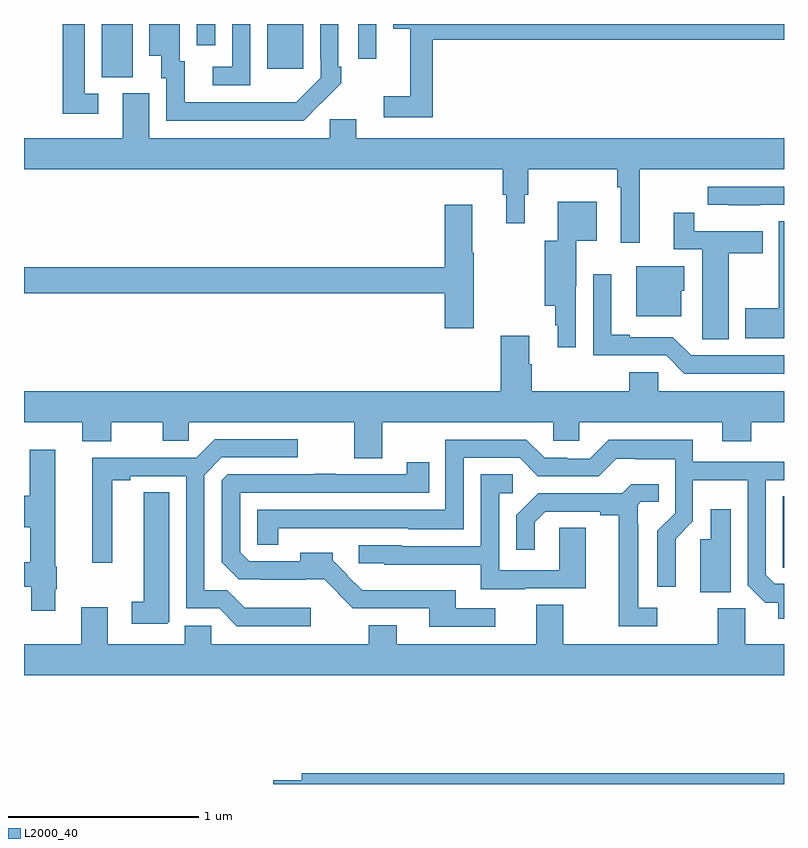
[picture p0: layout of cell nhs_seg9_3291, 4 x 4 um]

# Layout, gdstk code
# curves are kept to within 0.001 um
import gdstk
lib = gdstk.Library(unit=1e-6, precision=1e-09)
def R(c, l, rs):  # rectangles x0, y0, x1, y1
    for r in rs: c.add(gdstk.rectangle(r[:2], r[2:], *l))
def P(c, l, *ps):  # polygons
    for p in ps: c.add(gdstk.Polygon(p, *l))
L2000_40 = (2000, 40)

nhs_seg9_3291 = lib.new_cell('nhs_seg9_3291')
R(nhs_seg9_3291, L2000_40, [(299.408,1214.221,299.572,1214.5), (300.281,1214.265,300.469,1214.5), (300.759,1214.316,300.855,1214.5), (299.91,1214.388,300.006,1214.5)])
P(nhs_seg9_3291, L2000_40, [(299.392,1214.133),(299.319,1214.133),(299.319,1214.5),(299.203,1214.5),(299.203,1214.028),(299.392,1214.028)],
  [(300.563,1214.083),(300.564,1214.082),(300.669,1214.187),(300.669,1214.275),(300.654,1214.275),(300.654,1214.5),(300.558,1214.5),(300.558,1214.317),(300.561,1214.317),(300.561,1214.217),(300.433,1214.089),(300.329,1214.088),(299.845,1214.088),(299.845,1214.304),(299.821,1214.304),(299.821,1214.5),(299.66,1214.5),(299.66,1214.333),(299.723,1214.333),(299.723,1214.214),(299.748,1214.214),(299.748,1213.992),(300.472,1213.992)],
  [(301.151,1214.416),(303,1214.416),(303,1214.5),(300.944,1214.5),(300.944,1214.474),(301.034,1214.474),(301.034,1214.119),(300.894,1214.119),(300.894,1214.01),(301.151,1214.01)],
  [(300.192,1214.5),(300.096,1214.5),(300.096,1214.274),(299.994,1214.274),(299.994,1214.178),(300.192,1214.178)],
  [(302.24,1213.736),(303,1213.736),(303,1213.9),(300.748,1213.9),(300.748,1213.998),(300.609,1213.998),(300.609,1213.9),(299.659,1213.9),(299.659,1214.136),(299.519,1214.136),(299.519,1213.9),(299,1213.9),(299,1213.736),(301.519,1213.736),(301.519,1213.602),(301.538,1213.602),(301.538,1213.452),(301.636,1213.452),(301.636,1213.602),(301.655,1213.602),(301.655,1213.736),(302.122,1213.736),(302.122,1213.64),(302.142,1213.64),(302.142,1213.35),(302.24,1213.35)],
  [(302.876,1213.548),(303,1213.548),(303,1213.644),(302.598,1213.644),(302.598,1213.548),(302.71,1213.548),(302.71,1213.547),(302.876,1213.547)],
  [(301.905,1213.12),(301.906,1213.12),(301.906,1213.358),(302.014,1213.358),(302.014,1213.564),(301.808,1213.564),(301.808,1213.36),(301.741,1213.36),(301.741,1213.016),(301.797,1213.016),(301.797,1212.915),(301.808,1212.915),(301.808,1212.798),(301.905,1212.798)],
  [(301.368,1213.297),(301.36,1213.297),(301.36,1213.549),(301.214,1213.549),(301.214,1213.22),(299,1213.22),(299,1213.084),(301.214,1213.084),(301.214,1212.9),(301.368,1212.9)],
  [(302.71,1213.294),(302.887,1213.294),(302.887,1213.41),(302.528,1213.41),(302.528,1213.507),(302.42,1213.507),(302.42,1213.314),(302.57,1213.314),(302.57,1212.952),(302.571,1212.952),(302.571,1212.841),(302.71,1212.841)],
  [(303,1213.463),(302.972,1213.463),(302.972,1213.005),(302.795,1213.005),(302.795,1212.845),(303,1212.845)],
  [(302.458,1213.095),(302.476,1213.095),(302.476,1213.225),(302.222,1213.225),(302.222,1212.962),(302.458,1212.962)],
  [(303,1212.756),(302.511,1212.756),(302.415,1212.852),(302.188,1212.852),(302.188,1212.865),(302.092,1212.865),(302.092,1213.183),(301.995,1213.183),(301.995,1212.756),(302.379,1212.756),(302.475,1212.66),(303,1212.66)],
  [(300.885,1212.404),(301.785,1212.404),(301.785,1212.306),(301.923,1212.306),(301.923,1212.404),(302.675,1212.404),(302.675,1212.305),(302.828,1212.305),(302.828,1212.404),(303,1212.404),(303,1212.568),(302.337,1212.568),(302.337,1212.666),(302.186,1212.666),(302.186,1212.568),(301.673,1212.568),(301.673,1212.71),(301.66,1212.71),(301.66,1212.859),(301.508,1212.859),(301.508,1212.568),(299,1212.568),(299,1212.404),(299.306,1212.404),(299.306,1212.305),(299.458,1212.305),(299.458,1212.404),(299.729,1212.404),(299.729,1212.306),(299.868,1212.306),(299.868,1212.404),(300.737,1212.404),(300.737,1212.214),(300.885,1212.214)],
  [(300.508,1211.428),(300.161,1211.428),(300.07,1211.519),(299.949,1211.519),(299.949,1212.126),(300.042,1212.219),(300.442,1212.219),(300.442,1212.315),(300.005,1212.315),(299.906,1212.216),(299.36,1212.216),(299.36,1211.664),(299.464,1211.664),(299.464,1212.1),(299.56,1212.1),(299.56,1212.12),(299.853,1212.12),(299.853,1211.424),(300.027,1211.424),(300.12,1211.331),(300.508,1211.331)],
  [(303,1211.553),(302.952,1211.553),(302.904,1211.601),(302.904,1212.099),(303,1212.099),(303,1212.195),(302.521,1212.195),(302.521,1212.313),(302.077,1212.313),(301.977,1212.213),(301.86,1212.213),(301.86,1212.216),(301.74,1212.216),(301.644,1212.312),(301.218,1212.312),(301.218,1211.943),(300.228,1211.943),(300.228,1211.758),(300.337,1211.758),(300.337,1211.846),(301.023,1211.847),(301.023,1211.84),(301.314,1211.84),(301.314,1212.216),(301.608,1212.216),(301.704,1212.12),(302.025,1212.12),(302.118,1212.213),(302.218,1212.213),(302.218,1212.209),(302.427,1212.209),(302.427,1211.925),(302.334,1211.832),(302.334,1211.538),(302.43,1211.538),(302.429,1211.79),(302.52,1211.882),(302.52,1212.098),(302.808,1212.098),(302.808,1211.547),(302.901,1211.455),(302.969,1211.455),(302.969,1211.37),(303,1211.37)],
  [(299.164,1211.524),(299.172,1211.524),(299.172,1211.643),(299.164,1211.643),(299.164,1212.259),(299.03,1212.259),(299.03,1212.018),(299,1212.018),(299,1211.852),(299.033,1211.852),(299.033,1211.666),(299,1211.666),(299,1211.538),(299.038,1211.538),(299.038,1211.412),(299.164,1211.412)],
  [(301.48,1211.424),(301.273,1211.424),(301.273,1211.521),(300.88,1211.521),(300.88,1211.519),(300.779,1211.519),(300.702,1211.595),(300.705,1211.598),(300.626,1211.677),(300.626,1211.716),(300.455,1211.716),(300.455,1211.673),(300.186,1211.673),(300.138,1211.721),(300.138,1212.033),(301.133,1212.033),(301.133,1212.193),(301.015,1212.193),(301.015,1212.129),(300.641,1212.129),(300.641,1212.134),(300.529,1212.134),(300.529,1212.129),(300.072,1212.129),(300.042,1212.099),(300.042,1211.667),(300.131,1211.578),(300.247,1211.578),(300.247,1211.576),(300.581,1211.577),(300.655,1211.503),(300.653,1211.501),(300.729,1211.424),(301.133,1211.424),(301.133,1211.328),(301.48,1211.328)],
  [(301.639,1211.529),(301.957,1211.529),(301.957,1211.849),(301.818,1211.849),(301.818,1211.625),(301.5,1211.625),(301.5,1212.03),(301.573,1212.03),(301.573,1212.131),(301.404,1212.131),(301.404,1211.751),(300.987,1211.751),(300.987,1211.757),(300.762,1211.757),(300.762,1211.661),(300.897,1211.661),(300.897,1211.654),(301.403,1211.654),(301.403,1211.525),(301.639,1211.525)],
  [(302.332,1211.427),(302.233,1211.427),(302.233,1211.867),(302.229,1211.867),(302.229,1211.967),(302.247,1211.985),(302.342,1211.985),(302.342,1212.077),(302.196,1212.077),(302.148,1212.03),(301.706,1212.03),(301.59,1211.914),(301.59,1211.733),(301.687,1211.733),(301.687,1211.877),(301.744,1211.934),(302.033,1211.934),(302.033,1211.914),(302.129,1211.914),(302.129,1211.331),(302.332,1211.331)],
  [(299.764,1211.353),(299.764,1212.035),(299.63,1212.035),(299.63,1211.459),(299.568,1211.459),(299.568,1211.343),(299.754,1211.343)],
  [(303,1212.014),(302.993,1212.014),(302.993,1211.746),(302.994,1211.746),(302.994,1211.638),(303,1211.638)],
  [(302.719,1211.947),(302.615,1211.947),(302.615,1211.787),(302.558,1211.787),(302.558,1211.509),(302.719,1211.509)],
  [(303,1211.236),(302.796,1211.236),(302.796,1211.424),(302.65,1211.424),(302.65,1211.236),(301.837,1211.236),(301.837,1211.444),(301.697,1211.444),(301.697,1211.236),(300.961,1211.236),(300.961,1211.335),(300.814,1211.335),(300.814,1211.236),(299.985,1211.236),(299.985,1211.334),(299.846,1211.334),(299.846,1211.236),(299.44,1211.236),(299.44,1211.431),(299.3,1211.431),(299.3,1211.236),(299,1211.236),(299,1211.072),(303,1211.072)],
  [(303,1210.556),(300.461,1210.556),(300.461,1210.52),(300.312,1210.52),(300.312,1210.5),(303,1210.5)])

lib.write_gds('nhs_seg9_3291.gds')
